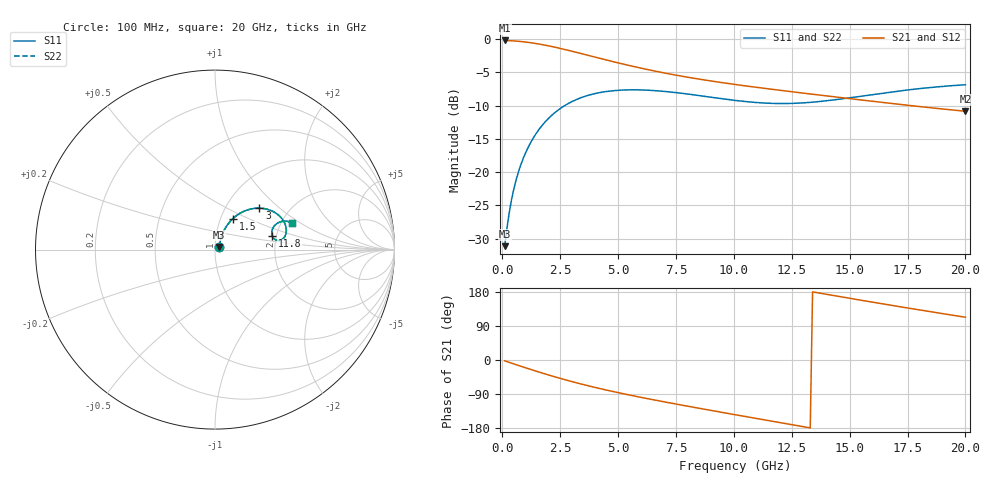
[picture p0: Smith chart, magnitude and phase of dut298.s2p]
! Touchstone file exported from HFSS 2024.1.0
!  File:  C:/UserFiles/LocalFiles/RDL_TSV_Batchsim/temp_RDL_TSV_298_1779469006.aedt
!  Generated:  01:11:27 AM May 23, 2026
!  Design:  RDL_TSV
!  Project:  temp_RDL_TSV_298_1779469006
!  Setup:  Setup1
!  Solution:  Sweep
! Variables:
!  dtsv = 6.54um
!  hbump = 3um
!  htsv = 60.26um
!  ldown = 622.94um
!  lrdl = 513.73um
!  p = 40
!  p1 = 55.28um
!  rhole = 10um
!  subl = 3923.74um
!  t = 450um
!  tdown = 3.93um
!  trdl = 4.96um
!  viad = 10um
!  wdown = 13.5um
!  wrdl = 13.89um
!  xbump = 18um
# GHz S MA R 50.000000
! Terminal data exported
! Port[1] = TM1_1_T1
! Port[2] = TM1_4_T1
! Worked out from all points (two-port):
!   200 points, 100 MHz to 20 GHz, reference 50 ohm
!   highest |S21| = -0.21 dB at 100 MHz (marker M1); lowest = -10.9 dB at 20 GHz (marker M2)
!   |S21| within 3 dB of the highest: start of sweep to 4.568 GHz
!   lowest |S11| = -31.1 dB at 100 MHz (marker M3), VSWR 1.06, Z = 52.4 + j1.47 ohm
!   |S11| at or under -10 dB: start of sweep to 2.696 GHz
!   |S22| runs from -31.1 to -6.9 dB; largest |S21 - S12| = 9.7e-15
!   S11 on the Smith chart (normalised r, x): 100 MHz: 1.05, +0.03; 1.5 GHz: 1.14, +0.41; 3 GHz: 1.43, +0.74; 11.8 GHz: 1.90, +0.32; 20 GHz: 2.28, +0.85
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0.1  0.02773 30.3  0.9762 -2.1  0.9762 -2.1  0.02773 30.3
! Gamma 0 0 0 0
! Port Impedance 50 0 50 0
0.3  0.04955 55.7  0.9732 -6.3  0.9732 -6.3  0.04955 55.7
0.4  0.06208 60.2  0.9711 -8.3  0.9711 -8.3  0.06208 60.2
0.6  0.08772 63.9  0.9656 -12.4  0.9656 -12.4  0.08772 63.9
0.8  0.1134 64.7  0.9586 -16.4  0.9586 -16.4  0.1134 64.7
1  0.1389 64.1  0.9502 -20.4  0.9502 -20.4  0.1389 64.1
1.5  0.1995 60.0  0.9232 -30.2  0.9232 -30.2  0.1995 60.0
2.2  0.2734 52.2  0.8743 -43.2  0.8743 -43.2  0.2735 52.2
3  0.3383 43.0  0.8109 -56.9  0.8109 -56.9  0.3384 43.1
3.5  0.3677 37.6  0.7708 -64.9  0.7708 -64.9  0.3679 37.7
4.2  0.3957 30.8  0.7173 -75.2  0.7173 -75.2  0.396 30.8
5.1  0.4129 23.3  0.6559 -87.4  0.6559 -87.4  0.4133 23.3
5.9  0.415 17.9  0.6091 -97.5  0.6091 -97.5  0.4155 18.0
6.8  0.407 13.3  0.5647 -108.2  0.5647 -108.2  0.4076 13.3
8.4  0.3781 8.6  0.5032 -126.3  0.5032 -126.3  0.3788 8.7
10.1  0.345 8.8  0.4545 -144.9  0.4545 -144.9  0.3458 8.8
11.8  0.3279 13.3  0.4159 -163.2  0.4159 -163.2  0.3286 13.2
13.4  0.3354 18.7  0.3848 179.7  0.3848 179.7  0.3359 18.6
15.1  0.3637 22.4  0.355 161.8  0.355 161.8  0.3639 22.3
16.7  0.3978 23.0  0.3296 145.4  0.3296 145.4  0.3978 22.9
18.3  0.429 21.7  0.3071 129.4  0.3071 129.4  0.4289 21.6
20  0.4534 19.0  0.2866 112.9  0.2866 112.9  0.4531 18.9
